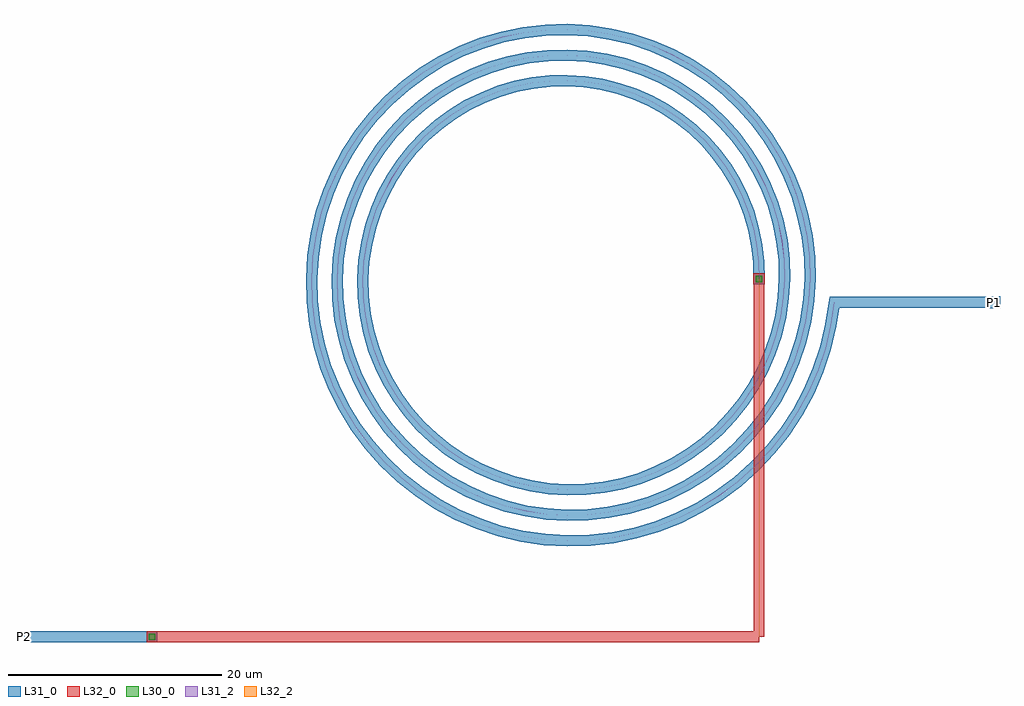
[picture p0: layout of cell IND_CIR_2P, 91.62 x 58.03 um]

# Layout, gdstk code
import gdstk
lib = gdstk.Library(unit=1e-6, precision=1e-09)
def R(c, l, rs):  # rectangles x0, y0, x1, y1
    for r in rs: c.add(gdstk.rectangle(r[:2], r[2:], *l))
L30_0 = (30, 0)
L31_0 = (31, 0)
L31_2 = (31, 2)
L32_0 = (32, 0)
L32_2 = (32, 2)

ind_cir_2p = lib.new_cell('IND_CIR_2P')
R(ind_cir_2p, L30_0, [(-39.3,-33.9,-38.7,-33.3), (17.7,-0.3,18.3,0.3)])
R(ind_cir_2p, L31_0, [(-51,-34.1,-39,-33.1), (-39.5,-34.1,-38.5,-33.1), (39.521,-2.743,40.621,-1.643), (17.475,-0.525,18.525,0.525)])
R(ind_cir_2p, L32_0, [(-39.5,-34.1,-38.5,-33.1), (-39,-34.1,18,-33.1), (17.5,-33.6,18.5,0), (17.475,-0.525,18.525,0.525)])
ind_cir_2p.add(gdstk.FlexPath([(18,0),(17.965,1.572),(17.792,3.137),(17.483,4.685),(17.04,6.202),(16.465,7.678),(15.762,9.1),(14.936,10.458),(13.993,11.742),(12.94,12.94),(11.784,14.044),(10.535,15.045),(9.2,15.935),(7.79,16.706),(6.316,17.353),(4.788,17.87),(3.218,18.252),(1.618,18.496),(0,18.6),(-1.624,18.562),(-3.241,18.383),(-4.84,18.063),(-6.407,17.604),(-7.931,17.008),(-9.4,16.281),(-10.802,15.427),(-12.127,14.453),(-13.364,13.364),(-14.504,12.17),(-15.537,10.879),(-16.454,9.5),(-17.25,8.044),(-17.917,6.521),(-18.449,4.943),(-18.843,3.322),(-19.094,1.67),(-19.2,0),(-19.16,-1.676),(-18.974,-3.346),(-18.642,-4.995),(-18.167,-6.612),(-17.552,-8.185),(-16.801,-9.7),(-15.919,-11.147),(-14.912,-12.513),(-13.789,-13.789),(-12.556,-14.963),(-11.223,-16.028),(-9.8,-16.974),(-8.297,-17.794),(-6.726,-18.481),(-5.099,-19.029),(-3.427,-19.434),(-1.723,-19.691),(0,-19.8),(1.729,-19.758),(3.45,-19.565),(5.15,-19.222),(6.818,-18.731),(8.438,-18.096),(10,-17.321),(11.491,-16.41),(12.899,-15.372),(14.213,-14.213),(15.423,-12.941),(16.52,-11.567),(17.494,-10.1),(18.338,-8.551),(19.044,-6.932),(19.608,-5.254),(20.024,-3.531),(20.289,-1.775),(20.4,0),(20.356,1.781),(20.156,3.554),(19.801,5.306),(19.295,7.023),(18.64,8.692),(17.84,10.3),(16.902,11.835),(15.832,13.284),(14.637,14.637),(13.327,15.883),(11.911,17.011),(10.4,18.013),(8.805,18.881),(7.137,19.608),(5.409,20.188),(3.635,20.615),(1.827,20.887),(0,21),(-1.833,20.953),(-3.658,20.747),(-5.461,20.381),(-7.228,19.859),(-8.945,19.184),(-10.6,18.36),(-12.179,17.393),(-13.67,16.291),(-15.061,15.061),(-16.342,13.713),(-17.503,12.255),(-18.533,10.7),(-19.425,9.058),(-20.172,7.342),(-20.767,5.565),(-21.206,3.739),(-21.485,1.88),(-21.6,0),(-21.551,-1.885),(-21.338,-3.762),(-20.961,-5.616),(-20.423,-7.433),(-19.727,-9.199),(-18.879,-10.9),(-17.885,-12.523),(-16.751,-14.056),(-15.486,-15.486),(-14.098,-16.802),(-12.6,-17.994),(-11,-19.053),(-9.312,-19.969),(-7.547,-20.736),(-5.72,-21.347),(-3.843,-21.797),(-1.932,-22.082),(0,-22.2),(1.938,-22.149),(3.867,-21.928),(5.772,-21.54),(7.638,-20.986),(9.453,-20.271),(11.2,-19.399),(12.867,-18.376),(14.441,-17.21),(15.91,-15.91),(17.262,-14.484),(18.486,-12.944),(19.572,-11.3),(20.513,-9.565),(21.3,-7.752),(21.927,-5.875),(22.388,-3.948),(22.68,-1.984),(22.8,0),(22.746,1.99),(22.519,3.971),(22.12,5.927),(21.55,7.844),(20.815,9.706),(19.919,11.5),(18.868,13.211),(17.67,14.827),(16.334,16.334),(14.87,17.721),(13.288,18.977),(11.6,20.092),(9.819,21.057),(7.958,21.864),(6.03,22.506),(4.052,22.979),(2.037,23.278),(0,23.4),(-2.042,23.344),(-4.075,23.11),(-6.082,22.699),(-8.049,22.114),(-9.96,21.359),(-11.8,20.438),(-13.556,19.359),(-15.213,18.13),(-16.758,16.758),(-18.181,15.255),(-19.469,13.632),(-20.611,11.9),(-21.6,10.072),(-22.427,8.163),(-23.086,6.186),(-23.57,4.156),(-23.875,2.089),(-24,0),(-23.942,-2.095),(-23.701,-4.179),(-23.279,-6.238),(-22.678,-8.254),(-21.902,-10.213),(-20.958,-12.1),(-19.851,-13.9),(-18.589,-15.598),(-17.183,-17.183),(-15.641,-18.64),(-13.976,-19.96),(-12.2,-21.131),(-10.326,-22.144),(-8.368,-22.991),(-6.341,-23.665),(-4.26,-24.161),(-2.141,-24.473),(0,-24.6),(2.147,-24.54),(4.283,-24.292),(6.393,-23.858),(8.459,-23.242),(10.467,-22.446),(12.4,-21.477),(14.244,-20.342),(15.984,-19.049),(17.607,-17.607),(19.1,-16.027),(20.451,-14.32),(21.651,-12.5),(22.688,-10.58),(23.555,-8.573),(24.245,-6.496),(24.752,-4.364),(25.071,-2.193),(40.071,-2.193)], 1.05, ends="flush", simple_path=True, layer=31, datatype=0))  # L31_0
ind_cir_2p.add(gdstk.FlexPath([(18,0),(17.965,1.572),(17.792,3.137),(17.483,4.685),(17.04,6.202),(16.465,7.678),(15.762,9.1),(14.936,10.458),(13.993,11.742),(12.94,12.94),(11.784,14.044),(10.535,15.045),(9.2,15.935),(7.79,16.706),(6.316,17.353),(4.788,17.87),(3.218,18.252),(1.618,18.496),(0,18.6),(-1.624,18.562),(-3.241,18.383),(-4.84,18.063),(-6.407,17.604),(-7.931,17.008),(-9.4,16.281),(-10.802,15.427),(-12.127,14.453),(-13.364,13.364),(-14.504,12.17),(-15.537,10.879),(-16.454,9.5),(-17.25,8.044),(-17.917,6.521),(-18.449,4.943),(-18.843,3.322),(-19.094,1.67),(-19.2,0),(-19.16,-1.676),(-18.974,-3.346),(-18.642,-4.995),(-18.167,-6.612),(-17.552,-8.185),(-16.801,-9.7),(-15.919,-11.147),(-14.912,-12.513),(-13.789,-13.789),(-12.556,-14.963),(-11.223,-16.028),(-9.8,-16.974),(-8.297,-17.794),(-6.726,-18.481),(-5.099,-19.029),(-3.427,-19.434),(-1.723,-19.691),(0,-19.8),(1.729,-19.758),(3.45,-19.565),(5.15,-19.222),(6.818,-18.731),(8.438,-18.096),(10,-17.321),(11.491,-16.41),(12.899,-15.372),(14.213,-14.213),(15.423,-12.941),(16.52,-11.567),(17.494,-10.1),(18.338,-8.551),(19.044,-6.932),(19.608,-5.254),(20.024,-3.531),(20.289,-1.775),(20.4,0),(20.356,1.781),(20.156,3.554),(19.801,5.306),(19.295,7.023),(18.64,8.692),(17.84,10.3),(16.902,11.835),(15.832,13.284),(14.637,14.637),(13.327,15.883),(11.911,17.011),(10.4,18.013),(8.805,18.881),(7.137,19.608),(5.409,20.188),(3.635,20.615),(1.827,20.887),(0,21),(-1.833,20.953),(-3.658,20.747),(-5.461,20.381),(-7.228,19.859),(-8.945,19.184),(-10.6,18.36),(-12.179,17.393),(-13.67,16.291),(-15.061,15.061),(-16.342,13.713),(-17.503,12.255),(-18.533,10.7),(-19.425,9.058),(-20.172,7.342),(-20.767,5.565),(-21.206,3.739),(-21.485,1.88),(-21.6,0),(-21.551,-1.885),(-21.338,-3.762),(-20.961,-5.616),(-20.423,-7.433),(-19.727,-9.199),(-18.879,-10.9),(-17.885,-12.523),(-16.751,-14.056),(-15.486,-15.486),(-14.098,-16.802),(-12.6,-17.994),(-11,-19.053),(-9.312,-19.969),(-7.547,-20.736),(-5.72,-21.347),(-3.843,-21.797),(-1.932,-22.082),(0,-22.2),(1.938,-22.149),(3.867,-21.928),(5.772,-21.54),(7.638,-20.986),(9.453,-20.271),(11.2,-19.399),(12.867,-18.376),(14.441,-17.21),(15.91,-15.91),(17.262,-14.484),(18.486,-12.944),(19.572,-11.3),(20.513,-9.565),(21.3,-7.752),(21.927,-5.875),(22.388,-3.948),(22.68,-1.984),(22.8,0),(22.746,1.99),(22.519,3.971),(22.12,5.927),(21.55,7.844),(20.815,9.706),(19.919,11.5),(18.868,13.211),(17.67,14.827),(16.334,16.334),(14.87,17.721),(13.288,18.977),(11.6,20.092),(9.819,21.057),(7.958,21.864),(6.03,22.506),(4.052,22.979),(2.037,23.278),(0,23.4),(-2.042,23.344),(-4.075,23.11),(-6.082,22.699),(-8.049,22.114),(-9.96,21.359),(-11.8,20.438),(-13.556,19.359),(-15.213,18.13),(-16.758,16.758),(-18.181,15.255),(-19.469,13.632),(-20.611,11.9),(-21.6,10.072),(-22.427,8.163),(-23.086,6.186),(-23.57,4.156),(-23.875,2.089),(-24,0),(-23.942,-2.095),(-23.701,-4.179),(-23.279,-6.238),(-22.678,-8.254),(-21.902,-10.213),(-20.958,-12.1),(-19.851,-13.9),(-18.589,-15.598),(-17.183,-17.183),(-15.641,-18.64),(-13.976,-19.96),(-12.2,-21.131),(-10.326,-22.144),(-8.368,-22.991),(-6.341,-23.665),(-4.26,-24.161),(-2.141,-24.473),(0,-24.6),(2.147,-24.54),(4.283,-24.292),(6.393,-23.858),(8.459,-23.242),(10.467,-22.446),(12.4,-21.477),(14.244,-20.342),(15.984,-19.049),(17.607,-17.607),(19.1,-16.027),(20.451,-14.32),(21.651,-12.5),(22.688,-10.58),(23.555,-8.573),(24.245,-6.496),(24.752,-4.364),(25.071,-2.193),(40.071,-2.193)], 0.001, ends="extended", simple_path=True, layer=31, datatype=2))  # L31_2
ind_cir_2p.add(gdstk.FlexPath([(18,0),(18,-33.6),(-39,-33.6)], 0.001, ends="extended", simple_path=True, layer=32, datatype=2))  # L32_2
ind_cir_2p.add(gdstk.Label('P1', (40.071,-2.193), layer=31, texttype=1))
ind_cir_2p.add(gdstk.Label('P2', (-51,-33.6), layer=31, texttype=1))

lib.write_gds('IND_CIR_2P.gds')
